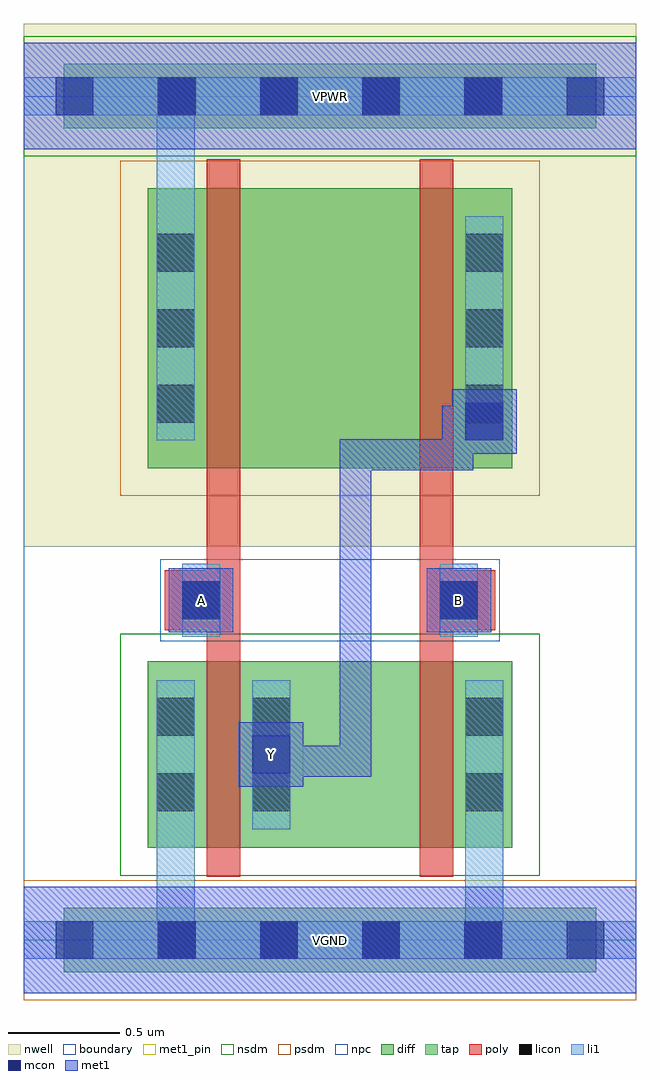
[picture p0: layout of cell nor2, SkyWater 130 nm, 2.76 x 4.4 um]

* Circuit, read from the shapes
.subckt nor2 A B VGND VPWR Y
XM1 Y A VGND VGND sky130_fd_pr__nfet_01v8 w=0.84 l=0.15
XM2 VGND B Y VGND sky130_fd_pr__nfet_01v8 w=0.84 l=0.15
XM3 n1 A VPWR VPWR sky130_fd_pr__pfet_01v8 w=1.26 l=0.15
XM4 Y B n1 VPWR sky130_fd_pr__pfet_01v8 w=1.26 l=0.15
.ends

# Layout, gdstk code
import gdstk
lib = gdstk.Library(unit=1e-6, precision=1e-09)
def R(c, l, rs):  # rectangles x0, y0, x1, y1
    for r in rs: c.add(gdstk.rectangle(r[:2], r[2:], *l))
def A(c, l, x, y, w, h, nx, ny, dx, dy):  # array of equal rectangles
    R(c, l, [(x+i*dx, y+j*dy, x+i*dx+w, y+j*dy+h) for i in range(nx) for j in range(ny)])
nwell = (64, 20)
diff = (65, 20)
tap = (65, 44)
poly = (66, 20)
licon = (66, 44)
li1 = (67, 20)
mcon = (67, 44)
met1_pin = (68, 16)
met1 = (68, 20)
nsdm = (93, 44)
psdm = (94, 20)
npc = (95, 20)
boundary = (235, 4)

nor2 = lib.new_cell('nor2')
R(nor2, nwell, [(0,1.77,2.76,4.125)])
R(nor2, diff, [(0.56,0.415,2.2,1.255), (0.56,2.125,2.2,3.385)])
R(nor2, tap, [(0.18,-0.145,2.58,0.145), (0.18,3.655,2.58,3.945)])
R(nor2, poly, [(0.825,0.285,0.975,3.515), (1.785,0.285,1.935,3.515), (0.635,1.395,0.965,1.665), (1.795,1.395,2.125,1.665)])
A(nor2, licon, 0.605, -0.085, 0.17, 0.17, 4, 2, 0.46, 3.8)
A(nor2, licon, 0.6, 2.33, 0.17, 0.17, 1, 3, 0, 0.34)
A(nor2, licon, 1.99, 2.33, 0.17, 0.17, 1, 3, 0, 0.34)
R(nor2, licon, [(0.6,0.58,0.77,0.75), (1.03,0.58,1.2,0.75), (1.99,0.58,2.16,0.75), (0.6,0.92,0.77,1.09), (1.03,0.92,1.2,1.09), (1.99,0.92,2.16,1.09), (0.715,1.445,0.885,1.615), (1.875,1.445,2.045,1.615)])
R(nor2, li1, [(0,-0.085,2.76,0.085), (0.6,-0.085,0.77,1.17), (1.99,-0.085,2.16,1.17), (0.6,0.5,0.77,1.17), (1.03,0.5,1.2,1.17), (1.99,0.5,2.16,1.17), (0.715,1.365,0.885,1.695), (1.875,1.365,2.045,1.695), (0.6,2.25,0.77,3.26), (0.6,2.25,0.77,3.885), (1.99,2.25,2.16,3.26), (0,3.715,2.76,3.885)])
A(nor2, mcon, 0.145, -0.085, 0.17, 0.17, 6, 2, 0.46, 3.8)
R(nor2, mcon, [(1.03,0.75,1.2,0.92), (0.715,1.445,0.885,1.615), (1.875,1.445,2.045,1.615), (1.99,2.25,2.16,2.42)])
R(nor2, met1_pin, [(0,-0.24,2.76,0.24), (0.97,0.69,1.26,0.98), (0.655,1.385,0.945,1.675), (1.815,1.385,2.105,1.675), (0,3.56,2.76,4.04)])
R(nor2, met1, [(0,-0.24,2.76,0.24), (0.97,0.69,1.26,0.98), (1.08,0.735,1.22,0.875), (1.08,0.735,1.565,0.875), (1.425,0.735,1.565,2.255), (0.655,1.385,0.945,1.675), (1.815,1.385,2.105,1.675), (1.425,2.115,2.025,2.255), (1.885,2.115,2.025,2.405), (1.93,2.19,2.22,2.48), (1.885,2.255,2.025,2.265), (1.885,2.255,2.025,2.265), (1.885,2.255,2.025,2.265), (1.885,2.255,2.025,2.265), (1.885,2.255,2.025,2.265), (1.885,2.255,2.025,2.265), (1.885,2.265,2.145,2.405), (0,3.56,2.76,4.04)])
R(nor2, nsdm, [(0.435,0.29,2.325,1.38), (0,3.53,2.76,4.07)])
R(nor2, psdm, [(0,-0.27,2.76,0.27), (0.435,2,2.325,3.51)])
R(nor2, npc, [(0.615,1.345,2.145,1.715)])
R(nor2, boundary, [(0,0,2.76,3.8)])
nor2.add(gdstk.Label('A', (0.8,1.53), layer=68, texttype=5))
nor2.add(gdstk.Label('B', (1.96,1.53), layer=68, texttype=5))
nor2.add(gdstk.Label('Y', (1.115,0.835), layer=68, texttype=5))
nor2.add(gdstk.Label('VPWR', (1.38,3.8), layer=68, texttype=5))
nor2.add(gdstk.Label('VGND', (1.38,0), layer=68, texttype=5))
nor2.add(gdstk.Label('A', (0.8,1.53), layer=68, texttype=16))
nor2.add(gdstk.Label('B', (1.96,1.53), layer=68, texttype=16))
nor2.add(gdstk.Label('Y', (1.115,0.835), layer=68, texttype=16))
nor2.add(gdstk.Label('VPWR', (1.38,3.8), layer=68, texttype=16))
nor2.add(gdstk.Label('VGND', (1.38,0), layer=68, texttype=16))

lib.write_gds('nor2.gds')
